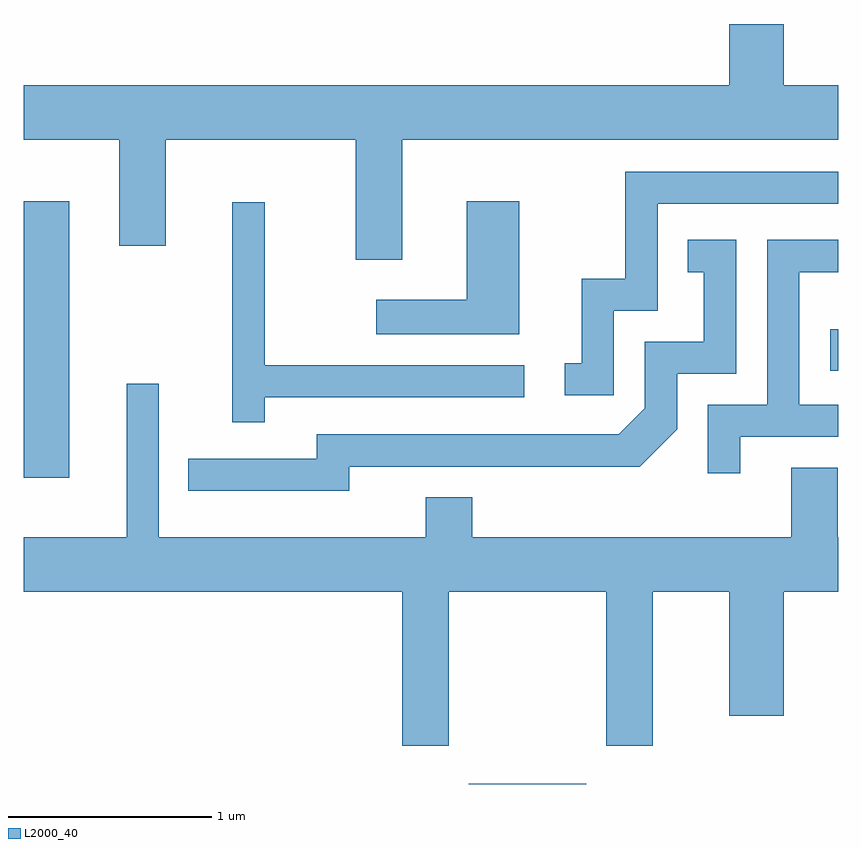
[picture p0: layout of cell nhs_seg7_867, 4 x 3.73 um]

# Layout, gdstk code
import gdstk
lib = gdstk.Library(unit=1e-6, precision=1e-09)
def R(c, l, rs):  # rectangles x0, y0, x1, y1
    for r in rs: c.add(gdstk.rectangle(r[:2], r[2:], *l))
def P(c, l, *ps):  # polygons
    for p in ps: c.add(gdstk.Polygon(p, *l))
L2000_40 = (2000, 40)

nhs_seg7_867 = lib.new_cell('nhs_seg7_867')
R(nhs_seg7_867, L2000_40, [(213.796,1722.252,214.374,1722.254), (211.611,1723.756,211.834,1725.114), (215.571,1724.281,215.611,1724.484)])
P(nhs_seg7_867, L2000_40, [(213.469,1725.416),(215.611,1725.416),(215.611,1725.684),(215.344,1725.684),(215.344,1725.984),(215.076,1725.984),(215.076,1725.684),(211.611,1725.684),(211.611,1725.416),(212.081,1725.416),(212.081,1724.896),(212.309,1724.896),(212.309,1725.416),(213.241,1725.416),(213.241,1724.826),(213.469,1724.826)],
  [(214.509,1724.576),(214.724,1724.576),(214.724,1725.101),(215.611,1725.101),(215.611,1725.259),(214.566,1725.259),(214.566,1724.734),(214.351,1724.734),(214.351,1724.319),(214.268,1724.319),(214.268,1724.161),(214.509,1724.161)],
  [(214.044,1725.114),(213.786,1725.114),(213.786,1724.629),(213.343,1724.629),(213.343,1724.461),(214.044,1724.461)],
  [(212.794,1724.151),(214.068,1724.151),(214.068,1724.309),(212.794,1724.309),(212.794,1725.108),(212.636,1725.108),(212.636,1724.028),(212.794,1724.028)],
  [(213.209,1723.811),(214.637,1723.811),(214.819,1723.994),(214.819,1724.266),(215.109,1724.266),(215.109,1724.924),(214.873,1724.924),(214.873,1724.766),(214.951,1724.766),(214.951,1724.424),(214.661,1724.424),(214.661,1724.097),(214.534,1723.969),(213.051,1723.969),(213.051,1723.849),(212.418,1723.849),(212.418,1723.691),(213.209,1723.691)],
  [(215.129,1723.956),(215.611,1723.956),(215.611,1724.114),(215.419,1724.114),(215.419,1724.766),(215.611,1724.766),(215.611,1724.924),(215.261,1724.924),(215.261,1724.114),(214.971,1724.114),(214.971,1723.778),(215.129,1723.778)],
  [(213.699,1723.196),(214.471,1723.196),(214.471,1722.441),(214.699,1722.441),(214.699,1723.196),(215.076,1723.196),(215.076,1722.586),(215.344,1722.586),(215.344,1723.196),(215.611,1723.196),(215.611,1723.464),(215.609,1723.464),(215.609,1723.804),(215.381,1723.804),(215.381,1723.464),(213.814,1723.464),(213.814,1723.659),(213.586,1723.659),(213.586,1723.464),(212.274,1723.464),(212.274,1724.218),(212.116,1724.218),(212.116,1723.464),(211.611,1723.464),(211.611,1723.196),(213.471,1723.196),(213.471,1722.441),(213.699,1722.441)])

lib.write_gds('nhs_seg7_867.gds')
